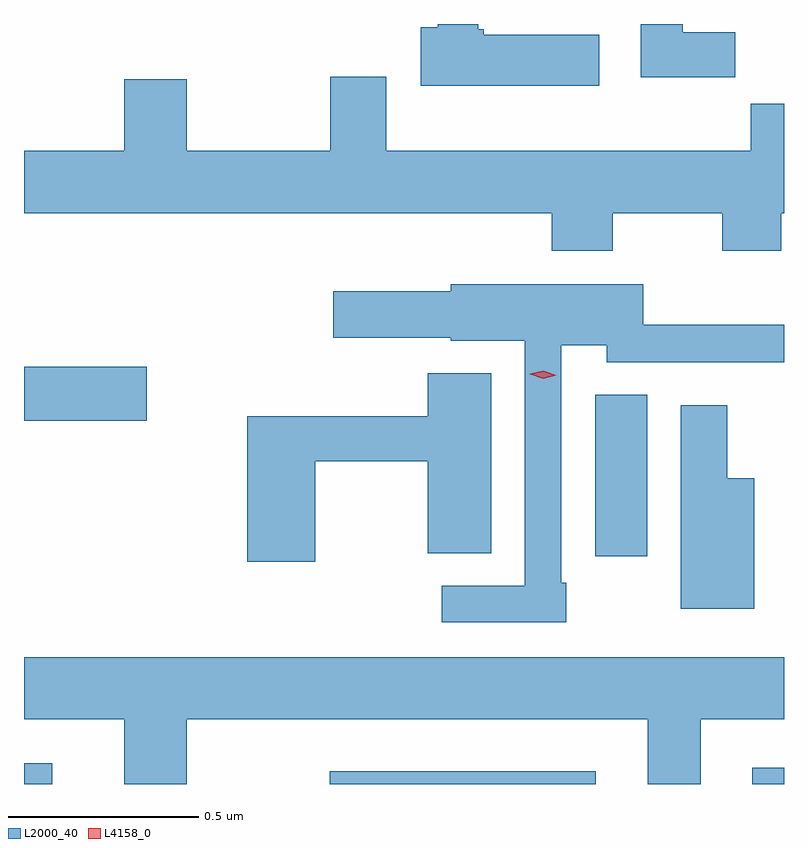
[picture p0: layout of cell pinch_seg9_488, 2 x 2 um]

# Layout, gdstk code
import gdstk
lib = gdstk.Library(unit=1e-6, precision=1e-09)
def R(c, l, rs):  # rectangles x0, y0, x1, y1
    for r in rs: c.add(gdstk.rectangle(r[:2], r[2:], *l))
def P(c, l, *ps):  # polygons
    for p in ps: c.add(gdstk.Polygon(p, *l))
L2000_40 = (2000, 40)
L4158_0 = (4158, 0)

pinch_seg9_488 = lib.new_cell('pinch_seg9_488')
R(pinch_seg9_488, L2000_40, [(344.564,1166.946,344.638,1167.001), (345.369,1166.946,346.069,1166.98), (346.481,1166.946,346.564,1166.989), (346.067,1167.546,346.204,1167.971), (344.564,1167.902,344.887,1168.044)])
P(pinch_seg9_488, L2000_40, [(346.436,1168.924),(346.297,1168.924),(346.297,1168.946),(346.187,1168.946),(346.187,1168.806),(346.436,1168.806)],
  [(346.078,1168.918),(345.774,1168.918),(345.774,1168.932),(345.76,1168.932),(345.76,1168.946),(345.653,1168.946),(345.653,1168.938),(345.608,1168.938),(345.608,1168.784),(346.078,1168.784)],
  [(346.113,1168.448),(346.402,1168.448),(346.402,1168.349),(346.557,1168.349),(346.557,1168.448),(346.564,1168.448),(346.564,1168.736),(346.477,1168.736),(346.477,1168.612),(345.517,1168.612),(345.517,1168.807),(345.37,1168.807),(345.37,1168.612),(344.992,1168.612),(344.992,1168.801),(344.828,1168.801),(344.828,1168.612),(344.564,1168.612),(344.564,1168.448),(345.953,1168.448),(345.953,1168.349),(346.113,1168.349)],
  [(345.991,1167.475),(345.978,1167.475),(345.978,1168.1),(346.098,1168.1),(346.098,1168.056),(346.564,1168.056),(346.564,1168.154),(346.194,1168.154),(346.194,1168.261),(345.687,1168.261),(345.687,1168.243),(345.378,1168.243),(345.378,1168.121),(345.687,1168.121),(345.687,1168.112),(345.882,1168.112),(345.882,1167.468),(345.663,1167.468),(345.663,1167.372),(345.991,1167.372)],
  [(345.33,1167.796),(345.626,1167.796),(345.626,1167.553),(345.793,1167.553),(345.793,1168.027),(345.626,1168.027),(345.626,1167.914),(345.152,1167.914),(345.152,1167.531),(345.33,1167.531)],
  [(346.486,1167.751),(346.414,1167.751),(346.414,1167.943),(346.292,1167.943),(346.292,1167.407),(346.486,1167.407)],
  [(344.992,1167.116),(346.205,1167.116),(346.205,1166.946),(346.345,1166.946),(346.345,1167.116),(346.564,1167.116),(346.564,1167.28),(344.564,1167.28),(344.564,1167.116),(344.828,1167.116),(344.828,1166.946),(344.992,1166.946)])
P(pinch_seg9_488, L4158_0, [(345.93,1168.013),(345.896,1168.024),(345.895,1168.024),(345.896,1168.025),(345.931,1168.033),(345.965,1168.022),(345.965,1168.022),(345.965,1168.022)])

lib.write_gds('pinch_seg9_488.gds')
